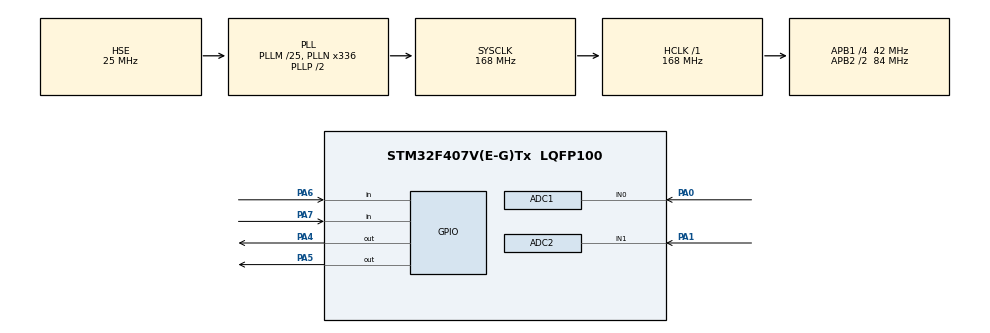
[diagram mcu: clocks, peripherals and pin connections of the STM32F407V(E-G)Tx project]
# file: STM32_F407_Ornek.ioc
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ADC1.Channel-0\#ChannelRegularConversion=ADC_CHANNEL_0
ADC1.Channel-1\#ChannelRegularConversion=ADC_CHANNEL_VREFINT
ADC1.Channel-2\#ChannelRegularConversion=ADC_CHANNEL_TEMPSENSOR
ADC1.ClockPrescaler=ADC_CLOCK_SYNC_PCLK_DIV6
ADC1.ContinuousConvMode=ENABLE
ADC1.NbrOfConversion=3
ADC1.NbrOfConversionFlag=1
ADC1.Rank-0\#ChannelRegularConversion=1
ADC1.Rank-1\#ChannelRegularConversion=2
ADC1.Rank-2\#ChannelRegularConversion=3
ADC1.SamplingTime-0\#ChannelRegularConversion=ADC_SAMPLETIME_56CYCLES
ADC1.SamplingTime-1\#ChannelRegularConversion=ADC_SAMPLETIME_56CYCLES
ADC1.SamplingTime-2\#ChannelRegularConversion=ADC_SAMPLETIME_56CYCLES
ADC1.ScanConvMode=ENABLE
ADC1.master=1
ADC2.Channel-0\#ChannelRegularConversion=ADC_CHANNEL_1
ADC2.ClockPrescaler=ADC_CLOCK_SYNC_PCLK_DIV6
ADC2.ContinuousConvMode=ENABLE
ADC2.EOCSelection=ADC_EOC_SINGLE_CONV
ADC2.NbrOfConversion=1
ADC2.NbrOfConversionFlag=1
ADC2.Rank-0\#ChannelRegularConversion=1
ADC2.SamplingTime-0\#ChannelRegularConversion=ADC_SAMPLETIME_56CYCLES
ADC2.ScanConvMode=DISABLE
Mcu.Family=STM32F4
Mcu.Name=STM32F407V(E-G)Tx
Mcu.Package=LQFP100
NVIC.ADC_IRQn=true\:0\:0\:false\:false\:true\:true\:true\:true
NVIC.PriorityGroup=NVIC_PRIORITYGROUP_4
PA0-WKUP.Signal=ADCx_IN0
PA1.Signal=ADCx_IN1
PA13.Mode=Serial_Wire
PA13.Signal=SYS_JTMS-SWDIO
PA14.Mode=Serial_Wire
PA14.Signal=SYS_JTCK-SWCLK
PA4.Signal=GPIO_Output
PA5.Signal=GPIO_Output
PA6.GPIO_PuPd=GPIO_PULLDOWN
PA6.Signal=GPIO_Input
PA7.GPIO_PuPd=GPIO_PULLDOWN
PA7.Signal=GPIO_Input
PH0-OSC_IN.Mode=HSE-External-Oscillator
PH0-OSC_IN.Signal=RCC_OSC_IN
PH1-OSC_OUT.Mode=HSE-External-Oscillator
PH1-OSC_OUT.Signal=RCC_OSC_OUT
ProjectManager.HeapSize=0x200
ProjectManager.StackSize=0x400
ProjectManager.TargetToolchain=STM32CubeIDE
RCC.48MHZClocksFreq_Value=84000000
RCC.AHBFreq_Value=168000000
RCC.APB1CLKDivider=RCC_HCLK_DIV4
RCC.APB1Freq_Value=42000000
RCC.APB1TimFreq_Value=84000000
RCC.APB2CLKDivider=RCC_HCLK_DIV2
RCC.APB2Freq_Value=84000000
RCC.APB2TimFreq_Value=168000000
RCC.CortexFreq_Value=168000000
RCC.HCLKFreq_Value=168000000
RCC.HSE_VALUE=25000000
RCC.HSI_VALUE=16000000
RCC.LSE_VALUE=32768
RCC.PLLM=25
RCC.PLLN=336
RCC.PLLSourceVirtual=RCC_PLLSOURCE_HSE
RCC.SYSCLKFreq_VALUE=168000000
RCC.SYSCLKSource=RCC_SYSCLKSOURCE_PLLCLK
RCC.VCOOutputFreq_Value=336000000
SH.ADCx_IN0.0=ADC1_IN0,IN0
SH.ADCx_IN1.0=ADC2_IN1,IN1
VP_ADC1_TempSens_Input.Mode=IN-TempSens
VP_ADC1_Vref_Input.Mode=IN-Vrefint
board=custom

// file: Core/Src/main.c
/* USER CODE BEGIN Header */
/**
  ******************************************************************************
  * @file           : main.c
  * @brief          : Main program body
  ******************************************************************************
  * @attention
  *
  * Copyright (c) 2023 STMicroelectronics.
  * All rights reserved.
  *
  * This software is licensed under terms that can be found in the LICENSE file
  * in the root directory of this software component.
  * If no LICENSE file comes with this software, it is provided AS-IS.
  *
  ******************************************************************************
  */
/* USER CODE END Header */
#include "main.h"

/* USER CODE BEGIN Includes */
#define VREFIN_CAL ((uint16_t*)((uint32_t)0x1FFF7A2A))
#define V25 (float) 0.76
#define Avg_slope (float) 0.0025

uint16_t adc1_value[3],adc2_value;
float Vadc1 = 0, Vadc2 = 0, Vsense = 0, Vdda = 0, temperature = 0;
int count = 0;
/* USER CODE END Includes */

ADC_HandleTypeDef hadc1;
ADC_HandleTypeDef hadc2;

void SystemClock_Config(void);
static void MX_GPIO_Init(void);
static void MX_ADC1_Init(void);
static void MX_ADC2_Init(void);

/* USER CODE BEGIN 0 */
void HAL_ADC_ConvCpltCallback(ADC_HandleTypeDef* hadc)
{
	if(__HAL_ADC_GET_FLAG(&hadc1,ADC_FLAG_EOC) != RESET)
	{
		adc1_value[count] = HAL_ADC_GetValue(&hadc1);
		count++;
		if(count == 3)
			count = 0;

		Vdda = (float) 3.3 * (*VREFIN_CAL) / adc1_value[1];
		Vadc1 = Vdda * adc1_value[0] / 4095;
		Vsense = Vdda * adc1_value[2] / 4095;

		temperature = ((Vsense -V25) / Avg_slope) + 25;

		if(temperature > 30 )
					{
						HAL_GPIO_WritePin(GPIOA, GPIO_PIN_4, SET);
					}

		 if(temperature < 30)
					{
						HAL_GPIO_WritePin(GPIOA, GPIO_PIN_4, RESET);

					}

	}
	if(__HAL_ADC_GET_FLAG(&hadc2, ADC_FLAG_EOC) != RESET)
	{
		adc2_value = HAL_ADC_GetValue(&hadc2);

		Vadc2 = Vdda * adc2_value / 4095;

		if (Vadc2 > 2 )
							{
								HAL_GPIO_WritePin(GPIOA, GPIO_PIN_5, SET);

							}
	   if (Vadc2 > 2 )
							{
								HAL_GPIO_WritePin(GPIOA, GPIO_PIN_5, RESET);

							}

	}

}
/* USER CODE END 0 */

int main(void)
{

  /* MCU Configuration--------------------------------------------------------*/

  /* Reset of all peripherals, Initializes the Flash interface and the Systick. */
   HAL_Init();

  /* Configure the system clock */
  SystemClock_Config();

  /* Initialize all configured peripherals */
  MX_GPIO_Init();
  MX_ADC1_Init();
  MX_ADC2_Init();
  /* USER CODE BEGIN 2 */
  HAL_ADC_Start_IT(&hadc1);
  HAL_ADC_Start_IT(&hadc2);

  /* USER CODE END 2 */

  /* Infinite loop */
  while (1)
  {

  }
}

void SystemClock_Config(void)
{
  RCC_OscInitTypeDef RCC_OscInitStruct = {0};
  RCC_ClkInitTypeDef RCC_ClkInitStruct = {0};

  /** Configure the main internal regulator output voltage
  */
  __HAL_RCC_PWR_CLK_ENABLE();
  __HAL_PWR_VOLTAGESCALING_CONFIG(PWR_REGULATOR_VOLTAGE_SCALE1);

  /** Initializes the RCC Oscillators according to the specified parameters
  * in the RCC_OscInitTypeDef structure.
  */
  RCC_OscInitStruct.OscillatorType = RCC_OSCILLATORTYPE_HSE;
  RCC_OscInitStruct.HSEState = RCC_HSE_ON;
  RCC_OscInitStruct.PLL.PLLState = RCC_PLL_ON;
  RCC_OscInitStruct.PLL.PLLSource = RCC_PLLSOURCE_HSE;
  RCC_OscInitStruct.PLL.PLLM = 25;
  RCC_OscInitStruct.PLL.PLLN = 336;
  RCC_OscInitStruct.PLL.PLLP = RCC_PLLP_DIV2;
  RCC_OscInitStruct.PLL.PLLQ = 4;
  if (HAL_RCC_OscConfig(&RCC_OscInitStruct) != HAL_OK)
  {
    Error_Handler();
  }

  /** Initializes the CPU, AHB and APB buses clocks
  */
  RCC_ClkInitStruct.ClockType = RCC_CLOCKTYPE_HCLK|RCC_CLOCKTYPE_SYSCLK
                              |RCC_CLOCKTYPE_PCLK1|RCC_CLOCKTYPE_PCLK2;
  RCC_ClkInitStruct.SYSCLKSource = RCC_SYSCLKSOURCE_PLLCLK;
  RCC_ClkInitStruct.AHBCLKDivider = RCC_SYSCLK_DIV1;
  RCC_ClkInitStruct.APB1CLKDivider = RCC_HCLK_DIV4;
  RCC_ClkInitStruct.APB2CLKDivider = RCC_HCLK_DIV2;

  if (HAL_RCC_ClockConfig(&RCC_ClkInitStruct, FLASH_LATENCY_5) != HAL_OK)
  {
    Error_Handler();
  }
}

static void MX_ADC1_Init(void)
{

  ADC_ChannelConfTypeDef sConfig = {0};

  /** Configure the global features of the ADC (Clock, Resolution, Data Alignment and number of conversion)
  */
  hadc1.Instance = ADC1;
  hadc1.Init.ClockPrescaler = ADC_CLOCK_SYNC_PCLK_DIV6;
  hadc1.Init.Resolution = ADC_RESOLUTION_12B;
  hadc1.Init.ScanConvMode = ENABLE;
  hadc1.Init.ContinuousConvMode = ENABLE;
  hadc1.Init.DiscontinuousConvMode = DISABLE;
  hadc1.Init.ExternalTrigConvEdge = ADC_EXTERNALTRIGCONVEDGE_NONE;
  hadc1.Init.ExternalTrigConv = ADC_SOFTWARE_START;
  hadc1.Init.DataAlign = ADC_DATAALIGN_RIGHT;
  hadc1.Init.NbrOfConversion = 3;
  hadc1.Init.DMAContinuousRequests = DISABLE;
  hadc1.Init.EOCSelection = ADC_EOC_SINGLE_CONV;
  if (HAL_ADC_Init(&hadc1) != HAL_OK)
  {
    Error_Handler();
  }

  /** Configure for the selected ADC regular channel its corresponding rank in the sequencer and its sample time.
  */
  sConfig.Channel = ADC_CHANNEL_0;
  sConfig.Rank = 1;
  sConfig.SamplingTime = ADC_SAMPLETIME_56CYCLES;
  if (HAL_ADC_ConfigChannel(&hadc1, &sConfig) != HAL_OK)
  {
    Error_Handler();
  }

  /** Configure for the selected ADC regular channel its corresponding rank in the sequencer and its sample time.
  */
  sConfig.Channel = ADC_CHANNEL_VREFINT;
  sConfig.Rank = 2;
  if (HAL_ADC_ConfigChannel(&hadc1, &sConfig) != HAL_OK)
  {
    Error_Handler();
  }

  /** Configure for the selected ADC regular channel its corresponding rank in the sequencer and its sample time.
  */
  sConfig.Channel = ADC_CHANNEL_TEMPSENSOR;
  sConfig.Rank = 3;
  if (HAL_ADC_ConfigChannel(&hadc1, &sConfig) != HAL_OK)
  {
    Error_Handler();
  }

}

static void MX_ADC2_Init(void)
{

  ADC_ChannelConfTypeDef sConfig = {0};

  /** Configure the global features of the ADC (Clock, Resolution, Data Alignment and number of conversion)
  */
  hadc2.Instance = ADC2;
  hadc2.Init.ClockPrescaler = ADC_CLOCK_SYNC_PCLK_DIV6;
  hadc2.Init.Resolution = ADC_RESOLUTION_12B;
  hadc2.Init.ScanConvMode = DISABLE;
  hadc2.Init.ContinuousConvMode = ENABLE;
  hadc2.Init.DiscontinuousConvMode = DISABLE;
  hadc2.Init.ExternalTrigConvEdge = ADC_EXTERNALTRIGCONVEDGE_NONE;
  hadc2.Init.ExternalTrigConv = ADC_SOFTWARE_START;
  hadc2.Init.DataAlign = ADC_DATAALIGN_RIGHT;
  hadc2.Init.NbrOfConversion = 1;
  hadc2.Init.DMAContinuousRequests = DISABLE;
  hadc2.Init.EOCSelection = ADC_EOC_SINGLE_CONV;
  if (HAL_ADC_Init(&hadc2) != HAL_OK)
  {
    Error_Handler();
  }

  /** Configure for the selected ADC regular channel its corresponding rank in the sequencer and its sample time.
  */
  sConfig.Channel = ADC_CHANNEL_1;
  sConfig.Rank = 1;
  sConfig.SamplingTime = ADC_SAMPLETIME_56CYCLES;
  if (HAL_ADC_ConfigChannel(&hadc2, &sConfig) != HAL_OK)
  {
    Error_Handler();
  }

}

static void MX_GPIO_Init(void)
{
  GPIO_InitTypeDef GPIO_InitStruct = {0};

  /* GPIO Ports Clock Enable */
  __HAL_RCC_GPIOH_CLK_ENABLE();
  __HAL_RCC_GPIOA_CLK_ENABLE();

  /*Configure GPIO pin Output Level */
  HAL_GPIO_WritePin(GPIOA, GPIO_PIN_4|GPIO_PIN_5, GPIO_PIN_RESET);

  /*Configure GPIO pins : PA4 PA5 */
  GPIO_InitStruct.Pin = GPIO_PIN_4|GPIO_PIN_5;
  GPIO_InitStruct.Mode = GPIO_MODE_OUTPUT_PP;
  GPIO_InitStruct.Pull = GPIO_NOPULL;
  GPIO_InitStruct.Speed = GPIO_SPEED_FREQ_LOW;
  HAL_GPIO_Init(GPIOA, &GPIO_InitStruct);

}

void Error_Handler(void)
{
  __disable_irq();
  while (1)
  {
  }
}
